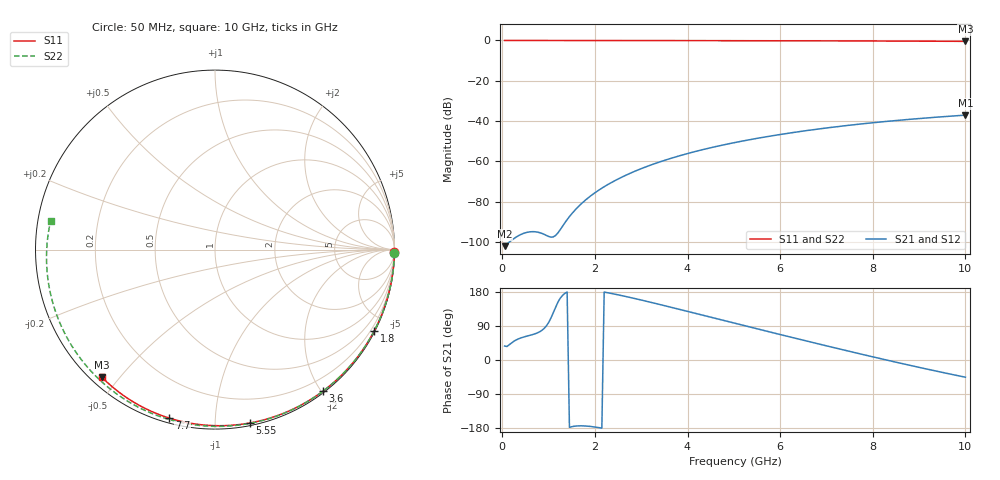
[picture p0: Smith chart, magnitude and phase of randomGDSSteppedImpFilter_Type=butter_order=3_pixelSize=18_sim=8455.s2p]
! freq	dB(S11)	phase(S11)	dB(S12)	phase(S12)
!  dB(S21)	phase(S21)	dB(S22)	phase(S22)
!S-par simulation data
#  GHz  S  DB  R 50
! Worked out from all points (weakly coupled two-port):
!   200 points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, 50 MHz to 10 GHz, reference 50 ohm
!   highest |S21| = -37.05 dB at 10 GHz (marker M1); lowest = -102.1 dB at 50 MHz (marker M2)
!   lowest |S11| = -0.4 dB at 10 GHz (marker M3), VSWR 39.07, Z = 1.54 - j22.5 ohm
!   |S11| at or under -10 dB: nowhere
!   |S22| runs from -0.6 to 0.0 dB; largest |S21 - S12| = 0
!   S11 on the Smith chart (normalised r, x): 50 MHz: open; 1.8 GHz: 0.04, -4.17; 3.6 GHz: 0.02, -2.02; 5.55 GHz: 0.02, -1.22; 7.7 GHz: 0.02, -0.77; 10 GHz: 0.03, -0.45
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0.05  -0.00 -0.8  -102.07 36.8  -102.07 36.8  -0.00 -1.0
0.45  -0.01 -6.8  -95.79 60.2  -95.79 60.2  -0.01 -9.4
0.85  -0.02 -12.9  -95.69 77.8  -95.69 77.8  -0.02 -17.6
1.3  -0.02 -19.6  -92.20 170.3  -92.20 170.3  -0.03 -26.8
1.75  -0.03 -26.2  -80.11 -173.8  -80.11 -173.8  -0.05 -35.9
1.8  -0.03 -27.0  -79.11 -174.2  -79.11 -174.2  -0.05 -36.9
2.1  -0.04 -31.3  -74.02 -178.7  -74.02 -178.7  -0.05 -42.9
2.5  -0.05 -37.1  -68.74 172.0  -68.74 172.0  -0.06 -50.8
2.9  -0.06 -42.9  -64.54 161.1  -64.54 161.1  -0.08 -58.5
3.4  -0.07 -49.9  -60.26 146.5  -60.26 146.5  -0.09 -68.1
3.6  -0.07 -52.7  -58.77 140.5  -58.77 140.5  -0.10 -71.8
4.3  -0.09 -62.3  -54.33 119.1  -54.33 119.1  -0.12 -84.8
5.05  -0.11 -72.2  -50.52 96.1  -50.52 96.1  -0.15 -98.3
5.55  -0.13 -78.7  -48.38 80.8  -48.38 80.8  -0.18 -107.2
6.1  -0.15 -85.7  -46.30 64.2  -46.30 64.2  -0.21 -116.8
6.7  -0.18 -93.1  -44.32 46.2  -44.32 46.2  -0.25 -127.3
7.7  -0.24 -105.1  -41.55 16.9  -41.55 16.9  -0.34 -145.0
8.35  -0.29 -112.7  -40.04 -1.6  -40.04 -1.6  -0.40 -156.8
8.8  -0.32 -117.9  -39.12 -14.0  -39.12 -14.0  -0.46 -165.3
9.2  -0.36 -122.4  -38.38 -24.8  -38.38 -24.8  -0.51 -173.1
9.6  -0.40 -127.0  -37.69 -35.3  -37.69 -35.3  -0.57 178.8
10  -0.44 -131.5  -37.05 -45.4  -37.05 -45.4  -0.63 170.2
